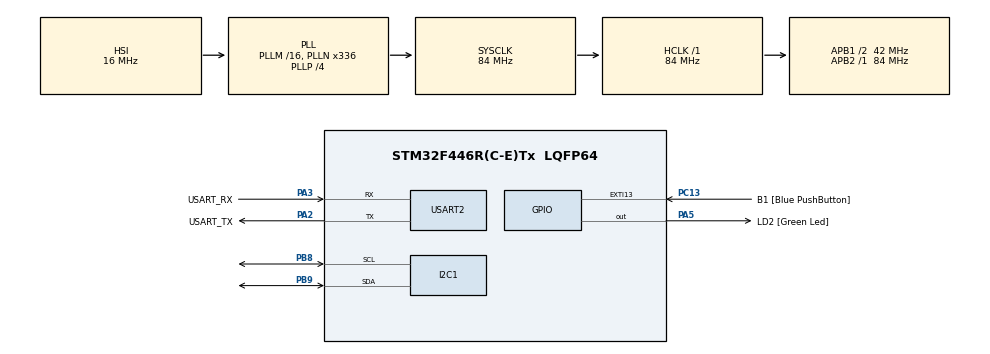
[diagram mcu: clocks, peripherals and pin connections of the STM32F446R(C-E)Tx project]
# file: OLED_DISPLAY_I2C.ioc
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I2C1.I2C_Mode=I2C_Fast
Mcu.Family=STM32F4
Mcu.Name=STM32F446R(C-E)Tx
Mcu.Package=LQFP64
NVIC.PriorityGroup=NVIC_PRIORITYGROUP_0
PA13.GPIO_Label=TMS
PA13.Mode=Serial_Wire
PA13.Signal=SYS_JTMS-SWDIO
PA14.GPIO_Label=TCK
PA14.Mode=Serial_Wire
PA14.Signal=SYS_JTCK-SWCLK
PA2.GPIO_Label=USART_TX
PA2.Mode=Asynchronous
PA2.Signal=USART2_TX
PA3.GPIO_Label=USART_RX
PA3.Mode=Asynchronous
PA3.Signal=USART2_RX
PA5.GPIO_Label=LD2 [Green Led]
PA5.Signal=GPIO_Output
PB3.GPIO_Label=SWO
PB3.Signal=SYS_JTDO-SWO
PB8.Mode=I2C
PB8.Signal=I2C1_SCL
PB9.Mode=I2C
PB9.Signal=I2C1_SDA
PC13.GPIO_Label=B1 [Blue PushButton]
PC13.GPIO_ModeDefaultEXTI=GPIO_MODE_IT_FALLING
PC13.Signal=GPXTI13
PC14-OSC32_IN.Mode=LSE-External-Oscillator
PC14-OSC32_IN.Signal=RCC_OSC32_IN
PC15-OSC32_OUT.Mode=LSE-External-Oscillator
PC15-OSC32_OUT.Signal=RCC_OSC32_OUT
PH0-OSC_IN.Mode=HSE-External-Oscillator
PH0-OSC_IN.Signal=RCC_OSC_IN
PH1-OSC_OUT.Mode=HSE-External-Oscillator
PH1-OSC_OUT.Signal=RCC_OSC_OUT
ProjectManager.HeapSize=0x200
ProjectManager.StackSize=0x400
ProjectManager.TargetToolchain=STM32CubeIDE
RCC.48MHZClocksFreq_Value=84000000
RCC.AHBFreq_Value=84000000
RCC.APB1CLKDivider=RCC_HCLK_DIV2
RCC.APB1Freq_Value=42000000
RCC.APB1TimFreq_Value=84000000
RCC.APB2Freq_Value=84000000
RCC.APB2TimFreq_Value=84000000
RCC.CortexFreq_Value=84000000
RCC.FLatency-AdvancedSettings=FLASH_LATENCY_2
RCC.HCLKFreq_Value=84000000
RCC.HSE_VALUE=8000000
RCC.HSI_VALUE=16000000
RCC.PLLN=336
RCC.PLLP=RCC_PLLP_DIV4
RCC.SYSCLKFreq_VALUE=84000000
RCC.SYSCLKSource=RCC_SYSCLKSOURCE_PLLCLK
RCC.USBFreq_Value=168000000
RCC.VCOOutputFreq_Value=336000000
USART2.VirtualMode=VM_ASYNC
board=NUCLEO-F446RE

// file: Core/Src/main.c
/* USER CODE BEGIN Header */
/**
  ******************************************************************************
  * @file           : main.c
  * @brief          : Main program body
  ******************************************************************************
  * @attention
  *
  * Copyright (c) 2025 STMicroelectronics.
  * All rights reserved.
  *
  * This software is licensed under terms that can be found in the LICENSE file
  * in the root directory of this software component.
  * If no LICENSE file comes with this software, it is provided AS-IS.
  *
  ******************************************************************************
  */
/* USER CODE END Header */
#include "main.h"

/* USER CODE BEGIN Includes */
#include "fonts.h"
#include "ssd1306.h"
/* USER CODE END Includes */

I2C_HandleTypeDef hi2c1;

UART_HandleTypeDef huart2;

void SystemClock_Config(void);
static void MX_GPIO_Init(void);
static void MX_I2C1_Init(void);
static void MX_USART2_UART_Init(void);

int main(void)
{

  /* MCU Configuration--------------------------------------------------------*/

  /* Reset of all peripherals, Initializes the Flash interface and the Systick. */
  HAL_Init();

  /* Configure the system clock */
  SystemClock_Config();

  /* Initialize all configured peripherals */
  MX_GPIO_Init();
  MX_I2C1_Init();
  MX_USART2_UART_Init();
  /* USER CODE BEGIN 2 */
  SSD1306_Init();
  SSD1306_GotoXY (0,0);
  SSD1306_Puts ("ATHUL", &Font_11x18, 1);
  SSD1306_GotoXY (0, 30);
  SSD1306_Puts ("Embedded", &Font_11x18, 1);
  SSD1306_UpdateScreen();
  HAL_Delay (1000);
  //SSD1306_ScrollRight(0,7);
  //HAL_Delay(3000);
  //SSD1306_ScrollLeft(1,7);
  //HAL_Delay(3000);
  //SSD1306_Stopscroll();
  SSD1306_Clear();

  int num=2025;
  char snum[5];
  //SSD1306_GotoXY (30,20);
  itoa(num, snum, 10);
  SSD1306_Puts (snum, &Font_16x26, 1);
  SSD1306_UpdateScreen();

  //SSD1306_DrawLine(POINT1 X, POINT1 Y, POINT2 X, POINT2 Y, 1);
  SSD1306_DrawLine(1,54,126,54,1);
  SSD1306_UpdateScreen();
  HAL_Delay (5000);
  SSD1306_Clear();

  // For Rectangle, we need to use two corner points
  // SSD1306_DrawRectangle(POINT1 X, POINT1 Y, POINT2 X, POINT2 Y, 1);
  SSD1306_DrawRectangle(17,1,115,14,1);
  // SSD1306_DrawTriangle(POINT1X, POINT1Y, POINT2X, POINT2Y, POINT3X, POINT3Y, 1);
  SSD1306_DrawTriangle(73,22,124,62,74,54,1);
  // SSD1306_DrawCircle(CENTER POINT X, CENTER POINT Y, RADIUS, 1);
  SSD1306_DrawCircle(34,50,13,1);

  SSD1306_Fill(0);   // Clear screen

  // ---- House Base ----
  SSD1306_DrawRectangle(30, 30, 90, 60, 1);   // x1,y1,x2,y2
                                              // main box body

  // ---- Roof using Triangle ----
  SSD1306_DrawTriangle(30,30, 90,30, 60,10, 1);

  // ---- Door ----
  SSD1306_DrawRectangle(55,45, 65,60, 1);

  // ---- Windows ----
  SSD1306_DrawRectangle(38,40, 48,50, 1);
  SSD1306_DrawRectangle(72,40, 82,50, 1);

  // ---- Sun ----
  SSD1306_DrawCircle(100,15, 10, 1);
  SSD1306_UpdateScreen();
  /* USER CODE END 2 */

  /* Infinite loop */
  while (1)
  {

  }
}

void SystemClock_Config(void)
{
  RCC_OscInitTypeDef RCC_OscInitStruct = {0};
  RCC_ClkInitTypeDef RCC_ClkInitStruct = {0};

  /** Configure the main internal regulator output voltage
  */
  __HAL_RCC_PWR_CLK_ENABLE();
  __HAL_PWR_VOLTAGESCALING_CONFIG(PWR_REGULATOR_VOLTAGE_SCALE3);

  /** Initializes the RCC Oscillators according to the specified parameters
  * in the RCC_OscInitTypeDef structure.
  */
  RCC_OscInitStruct.OscillatorType = RCC_OSCILLATORTYPE_HSI;
  RCC_OscInitStruct.HSIState = RCC_HSI_ON;
  RCC_OscInitStruct.HSICalibrationValue = RCC_HSICALIBRATION_DEFAULT;
  RCC_OscInitStruct.PLL.PLLState = RCC_PLL_ON;
  RCC_OscInitStruct.PLL.PLLSource = RCC_PLLSOURCE_HSI;
  RCC_OscInitStruct.PLL.PLLM = 16;
  RCC_OscInitStruct.PLL.PLLN = 336;
  RCC_OscInitStruct.PLL.PLLP = RCC_PLLP_DIV4;
  RCC_OscInitStruct.PLL.PLLQ = 2;
  RCC_OscInitStruct.PLL.PLLR = 2;
  if (HAL_RCC_OscConfig(&RCC_OscInitStruct) != HAL_OK)
  {
    Error_Handler();
  }

  /** Initializes the CPU, AHB and APB buses clocks
  */
  RCC_ClkInitStruct.ClockType = RCC_CLOCKTYPE_HCLK|RCC_CLOCKTYPE_SYSCLK
                              |RCC_CLOCKTYPE_PCLK1|RCC_CLOCKTYPE_PCLK2;
  RCC_ClkInitStruct.SYSCLKSource = RCC_SYSCLKSOURCE_PLLCLK;
  RCC_ClkInitStruct.AHBCLKDivider = RCC_SYSCLK_DIV1;
  RCC_ClkInitStruct.APB1CLKDivider = RCC_HCLK_DIV2;
  RCC_ClkInitStruct.APB2CLKDivider = RCC_HCLK_DIV1;

  if (HAL_RCC_ClockConfig(&RCC_ClkInitStruct, FLASH_LATENCY_2) != HAL_OK)
  {
    Error_Handler();
  }
}

static void MX_I2C1_Init(void)
{

  hi2c1.Instance = I2C1;
  hi2c1.Init.ClockSpeed = 400000;
  hi2c1.Init.DutyCycle = I2C_DUTYCYCLE_2;
  hi2c1.Init.OwnAddress1 = 0;
  hi2c1.Init.AddressingMode = I2C_ADDRESSINGMODE_7BIT;
  hi2c1.Init.DualAddressMode = I2C_DUALADDRESS_DISABLE;
  hi2c1.Init.OwnAddress2 = 0;
  hi2c1.Init.GeneralCallMode = I2C_GENERALCALL_DISABLE;
  hi2c1.Init.NoStretchMode = I2C_NOSTRETCH_DISABLE;
  if (HAL_I2C_Init(&hi2c1) != HAL_OK)
  {
    Error_Handler();
  }

}

static void MX_USART2_UART_Init(void)
{

  huart2.Instance = USART2;
  huart2.Init.BaudRate = 115200;
  huart2.Init.WordLength = UART_WORDLENGTH_8B;
  huart2.Init.StopBits = UART_STOPBITS_1;
  huart2.Init.Parity = UART_PARITY_NONE;
  huart2.Init.Mode = UART_MODE_TX_RX;
  huart2.Init.HwFlowCtl = UART_HWCONTROL_NONE;
  huart2.Init.OverSampling = UART_OVERSAMPLING_16;
  if (HAL_UART_Init(&huart2) != HAL_OK)
  {
    Error_Handler();
  }

}

static void MX_GPIO_Init(void)
{
  GPIO_InitTypeDef GPIO_InitStruct = {0};

  /* GPIO Ports Clock Enable */
  __HAL_RCC_GPIOC_CLK_ENABLE();
  __HAL_RCC_GPIOH_CLK_ENABLE();
  __HAL_RCC_GPIOA_CLK_ENABLE();
  __HAL_RCC_GPIOB_CLK_ENABLE();

  /*Configure GPIO pin Output Level */
  HAL_GPIO_WritePin(LD2_GPIO_Port, LD2_Pin, GPIO_PIN_RESET);

  /*Configure GPIO pin : B1_Pin */
  GPIO_InitStruct.Pin = B1_Pin;
  GPIO_InitStruct.Mode = GPIO_MODE_IT_FALLING;
  GPIO_InitStruct.Pull = GPIO_NOPULL;
  HAL_GPIO_Init(B1_GPIO_Port, &GPIO_InitStruct);

  /*Configure GPIO pin : LD2_Pin */
  GPIO_InitStruct.Pin = LD2_Pin;
  GPIO_InitStruct.Mode = GPIO_MODE_OUTPUT_PP;
  GPIO_InitStruct.Pull = GPIO_NOPULL;
  GPIO_InitStruct.Speed = GPIO_SPEED_FREQ_LOW;
  HAL_GPIO_Init(LD2_GPIO_Port, &GPIO_InitStruct);

}

void Error_Handler(void)
{
  __disable_irq();
  while (1)
  {
  }
}
